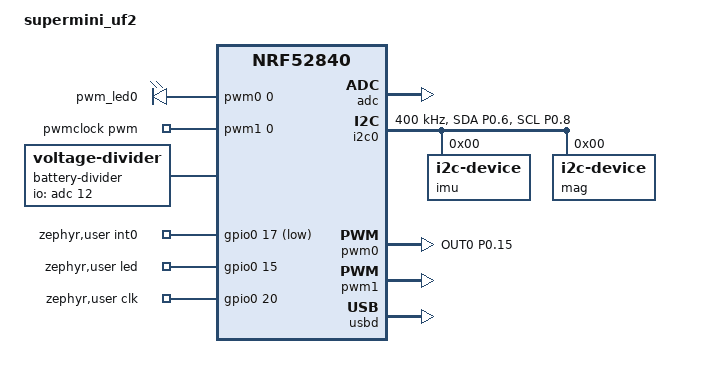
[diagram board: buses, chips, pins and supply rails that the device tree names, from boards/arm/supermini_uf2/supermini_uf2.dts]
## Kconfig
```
#
# Copyright (c) 2023 Nordic Semiconductor
#
# SPDX-License-Identifier: LicenseRef-Nordic-5-Clause
#

source "Kconfig.zephyr"

menu "SlimeNRF"

config USE_SLIMENRF_CONSOLE
    bool "Use basic console"
    depends on USB_DEVICE_STACK
    help
        Use basic console for commands.

choice
	prompt "System retention"
	depends on SOC_COMPATIBLE_NRF52X && CRC || RETAINED_MEM
    help
      Select the system retention method.
      Flash-backed data and fusion state is stored to reduce boot time.

config APP_USE_NRF_RETENTION
	bool "Use state retention in system off using nRF POWER"
	depends on SOC_COMPATIBLE_NRF52X && CRC
	help
	  On some Nordic chips this application supports retaining
	  memory while in system off using POWER peripheral.
	  Select this to enable the feature.

config APP_USE_RETAINED_MEM
	bool "Use state retention in system off using retained_mem driver"
	depends on RETAINED_MEM

endchoice

choice
	prompt "Battery voltage mapping"
    default BATTERY_NO_MAPPING

config BATTERY_USE_REG_BUCK_MAPPING
    bool "Use buck regulator mapping (3.7V battery, DCDC)"
    help
      Use a constant power mapping for battery voltage.
      Preffered for systems with a buck regulator.
      Measured at a system voltage of 3.0V.

config BATTERY_USE_REG_LDO_MAPPING
    bool "Use LDO linear regulator mapping (3.7V battery, LDO)"
    help
      Use a constant current mapping for battery voltage.
      Preferred for systems with a linear regulator.

config BATTERY_NO_MAPPING
    bool "Disable battery voltage mapping"
    help
      Always map to 100% battery. Disables battery monitoring.

endchoice

config IGNORE_RESET
    bool "Ignore reset"
    default y
    help
        If sw0 is available, don't change any reset behavior.

config USER_SHUTDOWN
    bool "User shutdown support"
    default y
    help
        Allow user to use reset or sw0 to shutdown.

config USE_IMU_WAKE_UP
    bool "IMU wake up support"
    default y
    help
        Use IMU wake up state if IMU wake up is present.

config DELAY_SLEEP_ON_STATUS
    bool "Delay IMU wake up mode on status flags"
    default y
    depends on USE_IMU_WAKE_UP
    help
        Delay IMU wake up state if there is an active status flag or in pairing mode.

config WOM_USE_DCDC
    bool "Use DCDC in IMU wake up mode"
    depends on USE_IMU_WAKE_UP
    help
        Use DCDC instead of LDO in IMU wake up state if it is more efficient.

config SENSOR_GYRO_ODR
    int "Gyrometer output data rate (Hz)"
    default 800
    help
        Requested gyrometer output data rate. Actual rate will be raised to the nearest supported rate.
        A higher rate will increase the time to read and process sensor data.
        400Hz is recommended for IMUs with poor gyrometer rate noise density. (Ex. BMI270, LSM6DS3TR-C)

config SENSOR_GYRO_FS
    int "Gyrometer full scale (dps)"
    default 2000
    help
        Requested gyrometer full scale. Actual scale will be raised to the nearest supported scale.
        A lower scale may improve noise performance, but is more likely to saturate.

config SENSOR_ACCEL_FS
    int "Accelerometer full scale (g)"
    default 16
    help
        Requested accelerometer full scale. Actual scale will be raised to the nearest supported scale.
        A lower scale may improve noise performance, but is more likely to saturate.

config SENSOR_USE_MAG
    bool "Magnetometer support"
    default y
    help
        Use magnetometer if it is present.

config USE_SENSOR_CLOCK
    bool "Use external IMU clock"
    default y
    help
        Use external IMU clock if it is present.

choice
	prompt "Sensor fusion"
    help
        Select the sensor fusion method.

config SENSOR_USE_XIOFUSION
    bool "Use x-io Technologies Fusion"
    help
        Use x-io Technologies Fusion for sensor fusion.
        Based on Madgwick filter.

config SENSOR_USE_VQF
    bool "Use VQF"
    depends on CPU_HAS_FPU
    help
        Use VQF for sensor fusion.
        Based on Kalman filter.

endchoice

config RADIO_TX_POWER
    int "Radio output power (dBm)"
    default 8
    help
        Radio output power level.
        A lower value may reduce power consumption.

endmenu
```

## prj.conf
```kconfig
CONFIG_NCS_SAMPLES_DEFAULTS=y

CONFIG_ESB=y

CONFIG_ADC=y
CONFIG_ADC_NRFX_SAADC=y
CONFIG_FPU=y
CONFIG_I2C=y
CONFIG_PINCTRL=y

CONFIG_NVS=y

CONFIG_POWEROFF=y

CONFIG_FLASH=y
CONFIG_FLASH_PAGE_LAYOUT=y
CONFIG_FLASH_MAP=y

CONFIG_SETTINGS=y
CONFIG_SETTINGS_NVS=y
CONFIG_SETTINGS_RUNTIME=y

CONFIG_MPU_ALLOW_FLASH_WRITE=y

CONFIG_CONSOLE=y
CONFIG_USE_SEGGER_RTT=y
CONFIG_RTT_CONSOLE=y
CONFIG_LOG=y
CONFIG_LOG_MODE_DEFERRED=y
CONFIG_LOG_SPEED=y
#CONFIG_LOG_MODE_IMMEDIATE=y
CONFIG_LOG_BACKEND_RTT=y
CONFIG_CBPRINTF_FP_SUPPORT=y
CONFIG_ADC_LOG_LEVEL_OFF=y
CONFIG_LOG_FUNC_NAME_PREFIX_ERR=y
CONFIG_LOG_BUFFER_SIZE=2048
# do not interfere with startup
CONFIG_LOG_PROCESS_THREAD_STARTUP_DELAY_MS=100
CONFIG_LOG_PROCESS_THREAD_SLEEP_MS=100

CONFIG_PWM=y
CONFIG_GPIO=y

#CONFIG_CPLUSPLUS=y
#CONFIG_CPP_MAIN=y

CONFIG_CRC=y

CONFIG_NVS_LOOKUP_CACHE=y

CONFIG_NEWLIB_LIBC=y
CONFIG_NRFX_TIMER1=y

#speed up boot? (use internal rc oscillator)
#CONFIG_CLOCK_CONTROL_NRF_K32SRC_RC=y
#speed up boot? (synthesize lf clock)
CONFIG_CLOCK_CONTROL_NRF_K32SRC_SYNTH=y

# dont need it
CONFIG_CRYPTO=n

# set timeout for 10ms, may be able to reduce further
CONFIG_I2C_NRFX_TRANSFER_TIMEOUT=10

CONFIG_USB_DEVICE_HID=y
CONFIG_USB_DEVICE_MANUFACTURER="SlimeVR"
CONFIG_USB_DEVICE_VID=0x1209
CONFIG_USB_DEVICE_PID=0x7692
CONFIG_USB_HID_BOOT_PROTOCOL=y
CONFIG_USB_DEVICE_INITIALIZE_AT_BOOT=n
CONFIG_USB_CDC_ACM=y
CONFIG_UART_INTERRUPT_DRIVEN=y 

CONFIG_SERIAL=y
CONFIG_CONSOLE=y
CONFIG_UART_CONSOLE=y
CONFIG_UART_LINE_CTRL=y

CONFIG_LOG=y
CONFIG_USB_DRIVER_LOG_LEVEL_ERR=y
CONFIG_USB_DEVICE_LOG_LEVEL_ERR=y
CONFIG_USB_CDC_ACM_LOG_LEVEL_OFF=y

CONFIG_LOG_BACKEND_UART=y
CONFIG_LOG_MODE_DEFERRED=y
#CONFIG_LOG_MODE_IMMEDIATE=y

CONFIG_CONSOLE_SUBSYS=y
CONFIG_CONSOLE_GETLINE=y

CONFIG_NVS_LOG_LEVEL_WRN=y
CONFIG_USB_HID_LOG_LEVEL_ERR=y

CONFIG_SYSTEM_WORKQUEUE_STACK_SIZE=256
CONFIG_MAIN_STACK_SIZE=512

CONFIG_IGNORE_RESET=n
CONFIG_USER_SHUTDOWN=n
CONFIG_USE_IMU_WAKE_UP=n
CONFIG_SENSOR_GYRO_ODR=400
CONFIG_SENSOR_USE_MAG=n
CONFIG_USE_SENSOR_CLOCK=n
```

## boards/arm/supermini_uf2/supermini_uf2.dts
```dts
// Copyright (c) 2024 Nordic Semiconductor ASA
// SPDX-License-Identifier: Apache-2.0

/dts-v1/;
#include <nordic/nrf52840_qiaa.dtsi>

//move to dtsi?
&pinctrl {
	i2c0_default: i2c0_default {
		group1 {
			psels = <NRF_PSEL(TWIM_SDA, 0, 6)>, <NRF_PSEL(TWIM_SCL, 0, 8)>;
			bias-disable;
		};
	};

	i2c0_sleep: i2c0_sleep {
		group1 {
			psels = <NRF_PSEL(TWIM_SDA, 0, 6)>, <NRF_PSEL(TWIM_SCL, 0, 8)>;
			bias-disable;
			low-power-enable;
		};
	};

	pwm0_default: pwm0_default {
		group1 {
			psels = <NRF_PSEL(PWM_OUT0, 0, 15)>;
		};
	};

	pwm0_sleep: pwm0_sleep {
		group1 {
			psels = <NRF_PSEL(PWM_OUT0, 0, 15)>;
			low-power-enable;
		};
	};

	pwm1_default: pwm1_default {
		group1 {
			psels = <NRF_PIN_DISCONNECTED>;
		};
	};

	pwm1_sleep: pwm1_sleep {
		group1 {
			psels = <NRF_PIN_DISCONNECTED>;
			low-power-enable;
		};
	};
};
//end

/ {
	model = "supermini_uf2";
	compatible = "supermini_uf2";

	chosen {
		zephyr,sram = &sram0;
		zephyr,flash = &flash0;
		zephyr,code-partition = &slot0_partition;
		zephyr,console = &cdc_acm_uart0;
		zephyr,shell-uart = &cdc_acm_uart0;
	};

	pwmleds {
		compatible = "pwm-leds";
		pwm_led0: pwm_led_0 {
			pwms = <&pwm0 0 PWM_MSEC(1) PWM_POLARITY_NORMAL>;
		};
	};

	// Uncomment below to Enable SW0
	// buttons {
	// 	compatible = "gpio-keys";
	// 	button0: button_0 {
	// 		gpios = <&gpio0 20 (GPIO_PULL_UP | GPIO_ACTIVE_LOW)>;
	// 		label = "Push button switch 0";
	// 	};
	// };

	// aliases {
	// 	sw0 = &button0;
	// };

	pwmclock: pwmclock {
		compatible = "pwm-clock";
		#clock-cells = <1>;
		pwms = <&pwm1 0 PWM_HZ(32768) PWM_POLARITY_NORMAL>;
	};

	battery-divider {
		compatible = "voltage-divider";
		status = "okay";
		io-channels = <&adc 12>; // Measure VDDHDIV5
		output-ohms = <1>;
		full-ohms = <5>;
	};

	zephyr,user {
		int0-gpios = <&gpio0 17 (GPIO_ACTIVE_LOW | GPIO_PULL_UP)>;
		led-gpios = <&gpio0 15 GPIO_OPEN_SOURCE>;
		clk-gpios = <&gpio0 20 GPIO_OPEN_DRAIN>; // Uncomment and set to correct pin if using an external clock (crystal oscillator)
	};

};

&flash0 {
	partitions {
		compatible = "fixed-partitions";
		#address-cells = <1>;
		#size-cells = <1>;

		boot_partition: partition@0 {
			label = "mcuboot";
			reg = <0x0 0xc000>;
		};
		slot0_partition: partition@c000 {
			label = "image-0";
			reg = <0xc000 0x72000>;
		};
		slot1_partition: partition@7e000 {
			label = "image-1";
			reg = <0x7e000 0x72000>;
		};
		scratch_partition: partition@f0000 {
			label = "image-scratch";
			reg = <0xf0000 0xa000>;
		};
		storage_partition: partition@fa000 {
			label = "storage";
			reg = <0xfa000 0x6000>;
		};
	};
};

&adc {
	status = "okay";
};

&gpiote {
	status = "okay";
};

&gpio0 {
	status = "okay";
};

&gpio1 {
	status = "okay";
};

&i2c0 {
	compatible = "nordic,nrf-twim";
	status = "okay";
	zephyr,concat-buf-size = <255>; // probable max for nrf52832
	zephyr,flash-buf-max-size = <255>; // probable max for nrf52832
	clock-frequency = <I2C_BITRATE_FAST>;
	pinctrl-0 = <&i2c0_default>;
	pinctrl-1 = <&i2c0_sleep>;
	pinctrl-names = "default", "sleep";

	imu: imu@0 { // any address out of range (00, 7f, etc. will search all addresses and stored address first if available, specify an address here to search first otherwise
		compatible = "i2c-device";
		label = "imu";
		reg = <0>;
	};

	mag: mag@0 {
		compatible = "i2c-device";
		label = "mag";
		reg = <0>;
	};

};

&pwm0 {
	status = "okay";
	pinctrl-0 = <&pwm0_default>;
	pinctrl-1 = <&pwm0_sleep>;
	pinctrl-names = "default", "sleep";
};

&pwm1 {
	status = "okay";
	pinctrl-0 = <&pwm1_default>;
	pinctrl-1 = <&pwm1_sleep>;
	pinctrl-names = "default", "sleep";
};

zephyr_udc0: &usbd {
	compatible = "nordic,nrf-usbd";
	status = "okay";
	cdc_acm_uart0: cdc_acm_uart0 {
		compatible = "zephyr,cdc-acm-uart";
	};
};

&cryptocell {
	status = "disabled";
};

&nfct {
	status = "disabled";
};
```

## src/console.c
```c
#include "globals.h"
#include "system.h"
#include "sensor.h"
#include "esb.h"
#include "build_defines.h"


#define USB DT_NODELABEL(usbd)
#if DT_NODE_HAS_STATUS(USB, okay) && CONFIG_USE_SLIMENRF_CONSOLE

#include <zephyr/drivers/gpio.h>
#include <zephyr/usb/usb_device.h>
#include <zephyr/usb/class/usb_hid.h>
#include <zephyr/console/console.h>
#include <zephyr/sys/reboot.h>
#include <zephyr/logging/log_ctrl.h>

#include <ctype.h>
#include <math.h>
LOG_MODULE_REGISTER(console, LOG_LEVEL_INF);

static void usb_init_thread(void);
K_THREAD_DEFINE(usb_init_thread_id, 256, usb_init_thread, NULL, NULL, NULL, 6, 0, 500); // Wait before enabling USB

static void console_thread(void);
static struct k_thread console_thread_id;
static K_THREAD_STACK_DEFINE(console_thread_id_stack, 512);

#define DFU_EXISTS CONFIG_BUILD_OUTPUT_UF2 || CONFIG_BOARD_HAS_NRF5_BOOTLOADER
#define ADAFRUIT_BOOTLOADER CONFIG_BUILD_OUTPUT_UF2
#define NRF5_BOOTLOADER CONFIG_BOARD_HAS_NRF5_BOOTLOADER

#if NRF5_BOOTLOADER
static const struct device *gpio_dev = DEVICE_DT_GET(DT_NODELABEL(gpio0));
#endif

static const char *meows[] = {
	"Meow",
	"Meow meow",
	"Mrrrp",
	"Mrrf",
	"Mreow",
	"Mrrrow",
	"Mrrr",
	"Purr",
	"meow",
	"meow meow",
	"mrrrp",
	"mrrf",
	"mreow",
	"mrrrow",
	"mrrr",
	"purr",
};

static const char *meow_punctuations[] = {
	".",
	"?",
	"!",
	"-",
	"~",
	""
};

static void status_cb(enum usb_dc_status_code status, const uint8_t *param)
{
	switch (status)
	{
	case USB_DC_CONNECTED:
		set_status(SYS_STATUS_USB_CONNECTED, true);
		k_thread_create(&console_thread_id, console_thread_id_stack, K_THREAD_STACK_SIZEOF(console_thread_id_stack), (k_thread_entry_t)console_thread, NULL, NULL, NULL, 6, 0, K_NO_WAIT);
		break;
	case USB_DC_DISCONNECTED:
		set_status(SYS_STATUS_USB_CONNECTED, false);
		k_thread_abort(&console_thread_id);
		break;
	default:
		LOG_DBG("status %u unhandled", status);
		break;
	}
}

static void usb_init_thread(void)
{
	usb_enable(status_cb);
}

static void print_info(void)
{
	printk(CONFIG_USB_DEVICE_MANUFACTURER " " CONFIG_USB_DEVICE_PRODUCT "\n");
	printk(FW_STRING);

	printk("Board configuration: " CONFIG_BOARD "\n");
	printk("SOC: " CONFIG_SOC "\n");

	printk("IMU address: 0x%02X, register: 0x%02X\n", retained.imu_addr, retained.imu_reg);
	printk("Magnetometer address: 0x%02X, register: 0x%02X\n", retained.mag_addr, retained.mag_reg);

	printk("IMU: %s\n", sensor_get_sensor_imu_name());
	printk("Magnetometer: %s\n", sensor_get_sensor_mag_name());

	printk("Accelerometer bias: %.5f %.5f %.5f\n", (double)retained.accelBias[0], (double)retained.accelBias[1], (double)retained.accelBias[2]);
	printk("Gyroscope bias: %.5f %.5f %.5f\n", (double)retained.gyroBias[0], (double)retained.gyroBias[1], (double)retained.gyroBias[2]);
	printk("Magnetometer bridge offset: %.5f %.5f %.5f\n", (double)retained.magBias[0], (double)retained.magBias[1], (double)retained.magBias[2]);
	printk("Magnetometer matrix:\n");
	for (int i = 0; i < 3; i++)
		printk("%.5f %.5f %.5f %.5f\n", (double)retained.magBAinv[0][i], (double)retained.magBAinv[1][i], (double)retained.magBAinv[2][i], (double)retained.magBAinv[3][i]);
	printk("Accelerometer matrix:\n");
	for (int i = 0; i < 3; i++)
		printk("%.5f %.5f %.5f %.5f\n", (double)retained.accBAinv[0][i], (double)retained.accBAinv[1][i], (double)retained.accBAinv[2][i], (double)retained.accBAinv[3][i]);

	printk("Fusion: %s\n", sensor_get_sensor_fusion_name());

	printk("Tracker ID: %u\n", retained.paired_addr[1]);
	printk("Device address: %012llX\n", *(uint64_t *)NRF_FICR->DEVICEADDR & 0xFFFFFFFFFFFF);
	printk("Receiver Address: %012llX\n", (*(uint64_t *)&retained.paired_addr[0] >> 16) & 0xFFFFFFFFFFFF);
}

static void console_thread(void)
{
	console_getline_init();
	while (log_data_pending())
		k_usleep(1);
	k_msleep(100);
	printk("*** " CONFIG_USB_DEVICE_MANUFACTURER " " CONFIG_USB_DEVICE_PRODUCT " ***\n");
	printk(FW_STRING);
	printk("info                         Get device information\n");
	printk("reboot                       Soft reset the device\n");
	printk("calibrate                    Calibrate sensor ZRO\n");

	uint8_t command_info[] = "info";
	uint8_t command_reboot[] = "reboot";
	uint8_t command_calibrate[] = "calibrate";

#if CONFIG_SENSOR_USE_6_SIDE_CALIBRATION
	printk("6-side                       Calibrate 6-side accelerometer\n");

	uint8_t command_6_side[] = "6-side";
#endif

	printk("pair                         Clear pairing data\n");

	uint8_t command_pair[] = "pair";

#if DFU_EXISTS
	printk("dfu                          Enter DFU bootloader\n");

	uint8_t command_dfu[] = "dfu";
#endif

	printk("meow                         Meow!\n");

	uint8_t command_meow[] = "meow";

	while (1) {
		uint8_t *line = console_getline();
		for (uint8_t *p = line; *p; ++p) {
			*p = tolower(*p);
		}

		if (memcmp(line, command_info, sizeof(command_info)) == 0)
		{
			print_info();
		}
		else if (memcmp(line, command_reboot, sizeof(command_reboot)) == 0)
		{
			sys_reboot(SYS_REBOOT_COLD);
		}
		else if (memcmp(line, command_calibrate, sizeof(command_calibrate)) == 0)
		{
//			reboot_counter_write(101);
			sensor_request_calibration();
			// float accelBias[3] = {NAN}, gyroBias[3] = {NAN}; // TODO: should be cleared in sensor.c
			// sys_write(MAIN_ACCEL_BIAS_ID, &retained.accelBias, accelBias, sizeof(accelBias));
			// sys_write(MAIN_GYRO_BIAS_ID, &retained.gyroBias, gyroBias, sizeof(gyroBias));
			k_msleep(1);
			sys_reboot(SYS_REBOOT_WARM);
		}
#if CONFIG_SENSOR_USE_6_SIDE_CALIBRATION
		else if (memcmp(line, command_6_side, sizeof(command_6_side)) == 0)
		{
			sensor_request_calibration_6_side();
			// float accBAinv[4][3];
			// accBAinv[0][0] = NAN;
			// sys_write(MAIN_ACC_6_BIAS_ID, &retained.accBAinv, accBAinv, sizeof(accBAinv));
			k_msleep(1);
			sys_reboot(SYS_REBOOT_WARM);
		}
#endif
		else if (memcmp(line, command_pair, sizeof(command_pair)) == 0) 
		{
//			reboot_counter_write(102);
			esb_reset_pair();
			k_msleep(1);
			sys_reboot(SYS_REBOOT_WARM);
		}
#if DFU_EXISTS
		else if (memcmp(line, command_dfu, sizeof(command_dfu)) == 0)
		{
#if ADAFRUIT_BOOTLOADER
			NRF_POWER->GPREGRET = 0x57;
			sys_reboot(SYS_REBOOT_COLD);
#endif
#if NRF5_BOOTLOADER
			gpio_pin_configure(gpio_dev, 19, GPIO_OUTPUT | GPIO_OUTPUT_INIT_LOW);
#endif
		}
#endif
		else if (memcmp(line, command_meow, sizeof(command_meow)) == 0) 
		{
			uint32_t cycles = k_cycle_get_32();
			cycles %= ARRAY_SIZE(meows) * ARRAY_SIZE(meow_punctuations); // silly number generator
			printk("%s%s\n", meows[cycles % ARRAY_SIZE(meows)], meow_punctuations[cycles / ARRAY_SIZE(meows)]);
		}
		else
		{
			printk("Unknown command\n");
		}
	}
}

#endif
```

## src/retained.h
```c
/*
 * Copyright (c) 2021 Nordic Semiconductor ASA
 *
 * SPDX-License-Identifier: Apache-2.0
 */

#ifndef RETAINED_H_
#define RETAINED_H_

#include <stdbool.h>
#include <stddef.h>
#include <stdint.h>

/* Example of validatable retained data. */
struct retained_data {
	uint8_t reboot_counter;
	uint8_t paired_addr[8];

	float accelBias[3];
	float gyroBias[3];
	float magBias[3];
	float magBAinv[4][3];

	uint8_t fusion_id; // fusion_data_stored
	uint8_t fusion_data[512];

	uint16_t imu_addr;
	uint16_t mag_addr;

	uint8_t imu_reg;
	uint8_t mag_reg;
	float global_sensitivity[3];
	

	/* CRC used to validate the retained data.  This must be
	 * stored little-endian, and covers everything up to but not
	 * including this field.
	 */
	uint32_t crc;
};

/* For simplicity in the sample just allow anybody to see and
 * manipulate the retained state.
 */
extern struct retained_data retained;

int ram_range_retain(const void *ptr, size_t len, bool enable);

/* Check whether the retained data is valid, and if not reset it.
 *
 * @return true if and only if the data was valid and reflects state
 * from previous sessions.
 */
bool retained_validate(void);

/* Update any generic retained state and recalculate its checksum so
 * subsequent boots can verify the retained state.
 */
void retained_update(void);

#endif /* RETAINED_H_ */
```

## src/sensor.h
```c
#ifndef SLIMENRF_SENSOR
#define SLIMENRF_SENSOR

#include <zephyr/drivers/i2c.h>

const char *sensor_get_sensor_imu_name(void);
const char *sensor_get_sensor_mag_name(void);
const char *sensor_get_sensor_fusion_name(void);

int sensor_init(void);

void sensor_scan_read(void);
void sensor_scan_write(void);
void sensor_scan_clear(void);

void sensor_retained_read(void);
void sensor_retained_write(void);

void sensor_shutdown(void);
void sensor_setup_WOM(void);

void sensor_calibrate_imu(void);
void sensor_calibrate_mag(void);
void sensor_calibrate_6_side(void);

int sensor_calibration_validate(void);
void sensor_calibration_fusion_invalidate(void);
void sensor_calibration_clear(void);
void sensor_request_calibration(void);
void sensor_calibration_clear_6_side(void);
void sensor_request_calibration_6_side(void);

bool wait_for_motion(const struct i2c_dt_spec *dev_i2c, bool motion, int samples);

int main_imu_init(void);
void main_imu_thread(void);
void wait_for_threads(void);
void main_imu_suspend(void);
void main_imu_wakeup(void);

int sensor_offsetBias(const struct i2c_dt_spec *dev_i2c, float *dest1, float *dest2);
void sensor_6_sideBias(const struct i2c_dt_spec *dev_i2c);

typedef struct sensor_fusion {
	void (*init)(float, float, float); // gyro_time, accel_time, mag_time
	void (*load)(const void *);
	void (*save)(void *);

	void (*update_gyro)(float *, float); // deg/s
	void (*update_accel)(float *, float); // g
	void (*update_mag)(float *, float); // any unit (usually gauss)
	void (*update)(float *, float *, float *, float);

	void (*get_gyro_bias)(float *);
	void (*set_gyro_bias)(float *);

	void (*update_gyro_sanity)(float *, float *);
	int (*get_gyro_sanity)(void);

	void (*get_lin_a)(float *);
	void (*get_quat)(float *);
} sensor_fusion_t;

typedef struct sensor_imu {
	int (*init)(const struct i2c_dt_spec*, float, float, float, float*, float*); // first float is clock_rate, nonzero means use CLKIN, return update time, return 0 if success, -1 if general error
	void (*shutdown)(const struct i2c_dt_spec*);

	int (*update_odr)(const struct i2c_dt_spec*, float, float, float*, float*); // return actual update time, return 0 if success, 1 if odr is same, -1 if general error

	uint16_t (*fifo_read)(const struct i2c_dt_spec*, uint8_t*, uint16_t);
	int (*fifo_process)(uint16_t, uint8_t*, float[3], float[3]); // deg/s TODO: is support accel needed?
	void (*accel_read)(const struct i2c_dt_spec*, float[3]); // g
	void (*gyro_read)(const struct i2c_dt_spec*, float[3]); // deg/s
	float (*temp_read)(const struct i2c_dt_spec*); // deg C

	void (*setup_WOM)(const struct i2c_dt_spec*);

	int (*ext_setup)(uint8_t, uint8_t); // setup external magnetometer
	int (*fifo_process_ext)(uint16_t, uint8_t*, float[3], float[3], uint8_t*); // deg/s, g, raw magnetometer data
	void (*ext_read)(const struct i2c_dt_spec*, uint8_t*); // raw data, to be processed in magnetometer driver
	int (*ext_passthrough)(const struct i2c_dt_spec*, bool); // enable/disable passthrough mode, return 0 if success, -1 if error or not available
} sensor_imu_t;

typedef struct sensor_mag {
	int (*init)(const struct i2c_dt_spec*, float, float*); // return update time, return 0 if success, 1 if general error
	void (*shutdown)(const struct i2c_dt_spec*);

	int (*update_odr)(const struct i2c_dt_spec*, float, float*); // return actual update time, return 0 if success, 1 if odr is same, -1 if general error

	void (*mag_oneshot)(const struct i2c_dt_spec*); // trigger oneshot if exists
	void (*mag_read)(const struct i2c_dt_spec*, float[3]); // any unit (usually gauss)
	float (*temp_read)(const struct i2c_dt_spec*, float[3]); // deg C

	void (*mag_process)(uint8_t*, float[3]); // use if magnetometer is present as an auxiliary sensor, from data read by IMU
	uint8_t ext_reg; // register for auxiliary interface to read magnetometer data
} sensor_mag_t;

#endif
```

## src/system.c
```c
#include "globals.h"
#include "sensor.h"
#include "connection.h"

#include <zephyr/drivers/gpio.h>
#include <zephyr/drivers/pwm.h>
#include <zephyr/sys/reboot.h>
#include <zephyr/drivers/flash.h>
#include <zephyr/storage/flash_map.h>
#include <zephyr/fs/nvs.h>
#include <hal/nrf_gpio.h>

#include "system.h"

static struct nvs_fs fs;
float global_sensitivity[3]={0.0,0.0,0.0};

#define NVS_PARTITION		storage_partition
#define NVS_PARTITION_DEVICE	FIXED_PARTITION_DEVICE(NVS_PARTITION)
#define NVS_PARTITION_OFFSET	FIXED_PARTITION_OFFSET(NVS_PARTITION)

LOG_MODULE_REGISTER(system, LOG_LEVEL_INF);

#if DT_NODE_HAS_PROP(DT_ALIAS(sw0), gpios) // Alternate button if available to use as "reset key"
#define BUTTON_EXISTS true
static void button_thread(void);
K_THREAD_DEFINE(button_thread_id, 256, button_thread, NULL, NULL, NULL, 6, 0, 0);
#else
#pragma message "Button GPIO does not exist"
#endif

#define ZEPHYR_USER_NODE DT_PATH(zephyr_user)
#define CLKOUT_NODE DT_NODELABEL(pwmclock)

#if DT_NODE_HAS_PROP(ZEPHYR_USER_NODE, dock_gpios)
#define DOCK_EXISTS true
static const struct gpio_dt_spec dock = GPIO_DT_SPEC_GET(ZEPHYR_USER_NODE, dock_gpios);
#else
#pragma message "Dock sense GPIO does not exist"
#endif
#if DT_NODE_HAS_PROP(ZEPHYR_USER_NODE, chg_gpios)
#define CHG_EXISTS true
static const struct gpio_dt_spec chg = GPIO_DT_SPEC_GET(ZEPHYR_USER_NODE, chg_gpios);
#else
#pragma message "Charge sense GPIO does not exist"
#endif
#if DT_NODE_HAS_PROP(ZEPHYR_USER_NODE, stby_gpios)
#define STBY_EXISTS true
static const struct gpio_dt_spec stby = GPIO_DT_SPEC_GET(ZEPHYR_USER_NODE, stby_gpios);
#else
#pragma message "Standby sense GPIO does not exist"
#endif

#if DT_NODE_HAS_PROP(ZEPHYR_USER_NODE, clk_gpios)
#define CLK_EN_EXISTS true
static const struct gpio_dt_spec clk_en = GPIO_DT_SPEC_GET(ZEPHYR_USER_NODE, clk_gpios);
static const struct pwm_dt_spec clk_out = {0};
#elif DT_NODE_HAS_PROP(CLKOUT_NODE, pwms)
#define CLK_OUT_EXISTS true
static const struct pwm_dt_spec clk_out = PWM_DT_SPEC_GET(CLKOUT_NODE);
#else
#pragma message "Clock enable GPIO or clock PWM out does not exist"
static const struct pwm_dt_spec clk_out = {0};
#endif

void configure_sense_pins(void)
{
	// Configure dock interrupt
#if DOCK_EXISTS
	if (dock_read())
	{
		nrf_gpio_cfg_input(NRF_DT_GPIOS_TO_PSEL(ZEPHYR_USER_NODE, dock_gpios), NRF_GPIO_PIN_NOPULL); // Still works
		nrf_gpio_cfg_sense_set(NRF_DT_GPIOS_TO_PSEL(ZEPHYR_USER_NODE, dock_gpios), NRF_GPIO_PIN_SENSE_HIGH);
	}
	else
	{
		nrf_gpio_cfg_input(NRF_DT_GPIOS_TO_PSEL(ZEPHYR_USER_NODE, dock_gpios), NRF_GPIO_PIN_PULLUP); // Still works
		nrf_gpio_cfg_sense_set(NRF_DT_GPIOS_TO_PSEL(ZEPHYR_USER_NODE, dock_gpios), NRF_GPIO_PIN_SENSE_LOW);
	}
	LOG_INF("Configured dock interrupt");
#endif
	// Configure chgstat interrupt
#if CHG_EXISTS
	nrf_gpio_cfg_input(NRF_DT_GPIOS_TO_PSEL(ZEPHYR_USER_NODE, chg_gpios), NRF_GPIO_PIN_PULLUP);
	nrf_gpio_cfg_sense_set(NRF_DT_GPIOS_TO_PSEL(ZEPHYR_USER_NODE, chg_gpios), chg_read() ? NRF_GPIO_PIN_SENSE_HIGH : NRF_GPIO_PIN_SENSE_LOW);
	LOG_INF("Configured chg interrupt");
#endif
#if STBY_EXISTS
	nrf_gpio_cfg_input(NRF_DT_GPIOS_TO_PSEL(ZEPHYR_USER_NODE, stby_gpios), NRF_GPIO_PIN_PULLUP);
	nrf_gpio_cfg_sense_set(NRF_DT_GPIOS_TO_PSEL(ZEPHYR_USER_NODE, stby_gpios), stby_read() ? NRF_GPIO_PIN_SENSE_HIGH : NRF_GPIO_PIN_SENSE_LOW);
	LOG_INF("Configured stby interrupt");
#endif
	// Configure sw0 interrupt
#if BUTTON_EXISTS // Alternate button if available to use as "reset key"
	nrf_gpio_cfg_input(NRF_DT_GPIOS_TO_PSEL(DT_ALIAS(sw0), gpios), NRF_GPIO_PIN_PULLUP);
	nrf_gpio_cfg_sense_set(NRF_DT_GPIOS_TO_PSEL(DT_ALIAS(sw0), gpios), NRF_GPIO_PIN_SENSE_LOW);
	LOG_INF("Configured sw0 interrupt");
#endif
}

static bool nvs_init = false;

static inline void sys_nvs_init(void)
{
	if (nvs_init)
		return;
	struct flash_pages_info info;
	fs.flash_device = NVS_PARTITION_DEVICE;
	fs.offset = NVS_PARTITION_OFFSET; // Start NVS FS here
	flash_get_page_info_by_offs(fs.flash_device, fs.offset, &info);
	fs.sector_size = info.size; // Sector size equal to page size
	fs.sector_count = 4U; // 4 sectors
	nvs_mount(&fs);
	nvs_init = true;
}

static int sys_retained_init(void)
{
	bool ram_retention = retained_validate(); // Check ram retention
	// All contents of NVS was stored in RAM to not need initializing NVS often
	if (!ram_retention)
	{ 
		LOG_INF("Invalidated RAM");
		sys_nvs_init();
		// read from nvs to retained
		nvs_read(&fs, PAIRED_ID, &retained.paired_addr, sizeof(retained.paired_addr));
		nvs_read(&fs, MAIN_ACCEL_BIAS_ID, &retained.accelBias, sizeof(retained.accelBias));
		nvs_read(&fs, MAIN_GYRO_BIAS_ID, &retained.gyroBias, sizeof(retained.gyroBias));
		nvs_read(&fs, MAIN_MAG_BIAS_ID, &retained.magBAinv, sizeof(retained.magBAinv));
		nvs_read(&fs, MAIN_GYRO_SENSITIVITY_ID, &retained.global_sensitivity, sizeof(retained.global_sensitivity));
		
		retained_update();
		ram_retention = true;
	}
	else
	{
		LOG_INF("Validated RAM");
	}
	return 0;
}

SYS_INIT(sys_retained_init, APPLICATION, CONFIG_APPLICATION_INIT_PRIORITY);

// read from retained
uint8_t reboot_counter_read(void)
{
	return retained.reboot_counter;
}

// write to retained
void reboot_counter_write(uint8_t reboot_counter)
{
	retained.reboot_counter = reboot_counter;
	retained_update();
}

// write to retained and nvs
void sys_write(uint16_t id, void *retained_ptr, const void *data, size_t len)
{
	sys_nvs_init();
	memcpy(retained_ptr, data, len);
	nvs_write(&fs, id, data, len);
	retained_update();
}

// return 0 if clock applied, -1 if failed (because there is no clk_en or clk_out)
int set_sensor_clock(bool enable, float rate, float *actual_rate)
{
#if CLK_EN_EXISTS
	gpio_pin_set_dt(&clk_en, enable); // if enabling some external oscillator is available
//	*actual_rate = enable ? (float)NSEC_PER_SEC / clk_out.period : 0; // assume pwm period is the same as an equivalent external oscillator
	*actual_rate = enable ? 32768 : 0; // default
	return 0;
#endif
	*actual_rate = 0; // rate is 0 if there will be no clock source available
	if (!device_is_ready(clk_out.dev))
		return -1;
	int err = pwm_set_dt(&clk_out, PWM_HZ(rate), enable ? PWM_HZ(rate * 2) : 0); // if clk_out is used
	if (!err)
		*actual_rate = enable ? rate : 0; // the system probably could provide the correct rate
	return err;
}

#if BUTTON_EXISTS // Alternate button if available to use as "reset key"
static const struct gpio_dt_spec button0 = GPIO_DT_SPEC_GET(DT_ALIAS(sw0), gpios);
static int64_t press_time;

static void button_pressed(const struct device *dev, struct gpio_callback *cb, uint32_t pins)
{
	if (button_read())
	{
		press_time = k_uptime_get();
	}
	else
	{
		if (press_time != 0 && k_uptime_get() - press_time > 50) // Debounce
			sys_reboot(SYS_REBOOT_COLD); // treat like pin reset but without pin reset reason
		press_time = 0;
	}
}

static struct gpio_callback button_cb_data;

static int sys_button_init(void)
{
	gpio_pin_configure_dt(&button0, GPIO_INPUT);
	gpio_pin_interrupt_configure_dt(&button0, GPIO_INT_EDGE_BOTH);
	gpio_init_callback(&button_cb_data, button_pressed, BIT(button0.pin));
	gpio_add_callback(button0.port, &button_cb_data);
	return 0;
}

SYS_INIT(sys_button_init, APPLICATION, CONFIG_APPLICATION_INIT_PRIORITY);
#endif

bool button_read(void)
{
#if BUTTON_EXISTS // Alternate button if available to use as "reset key"
	return gpio_pin_get_dt(&button0);
#else
	return false;
#endif
}

#if BUTTON_EXISTS // Alternate button if available to use as "reset key"
static void button_thread(void)
{
	while (1)
	{
		k_msleep(10);
		if (press_time != 0 && k_uptime_get() - press_time > 50 && button_read()) // Button is being pressed
			sys_reboot(SYS_REBOOT_COLD);
	}
}
#endif

static int sys_gpio_init(void)
{
#if DOCK_EXISTS // configure if exists
	gpio_pin_configure_dt(&dock, GPIO_INPUT);
#endif
#if CHG_EXISTS
	gpio_pin_configure_dt(&chg, GPIO_INPUT);
#endif
#if STBY_EXISTS
	gpio_pin_configure_dt(&stby, GPIO_INPUT);
#endif
#if CLK_EN_EXISTS
	gpio_pin_configure_dt(&clk_en, GPIO_OUTPUT);
#endif
#if DCDC_EN_EXISTS
	gpio_pin_configure_dt(&dcdc_en, GPIO_OUTPUT);
#endif
#if LDO_EN_EXISTS
	gpio_pin_configure_dt(&ldo_en, GPIO_OUTPUT);
#endif
	return 0;
}

SYS_INIT(sys_gpio_init, APPLICATION, CONFIG_APPLICATION_INIT_PRIORITY);

bool dock_read(void)
{
#if DOCK_EXISTS
	return gpio_pin_get_dt(&dock);
#else
	return false;
#endif
}

bool chg_read(void)
{
#if CHG_EXISTS
	return gpio_pin_get_dt(&chg);
#else
	return false;
#endif
}

bool stby_read(void)
{
#if STBY_EXISTS
	return gpio_pin_get_dt(&stby);
#else
	return false;
#endif
}
```

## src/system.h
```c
#ifndef SLIMENRF_SYSTEM
#define SLIMENRF_SYSTEM

#include "system/led.h"
#include "system/power.h"
#include "system/status.h"

#define RBT_CNT_ID 1
#define PAIRED_ID 2
#define MAIN_ACCEL_BIAS_ID 3
#define MAIN_GYRO_BIAS_ID 4
#define MAIN_MAG_BIAS_ID 5
#define MAIN_GYRO_SENSITIVITY_ID 6

void configure_sense_pins(void);

uint8_t reboot_counter_read(void);
void reboot_counter_write(uint8_t reboot_counter);

void sys_write(uint16_t id, void *ptr, const void *data, size_t len);

int set_sensor_clock(bool enable, float rate, float *actual_rate);

bool button_read(void);

bool dock_read(void);
bool chg_read(void);
bool stby_read(void);
extern float global_sensitivity[3];
#endif
```
